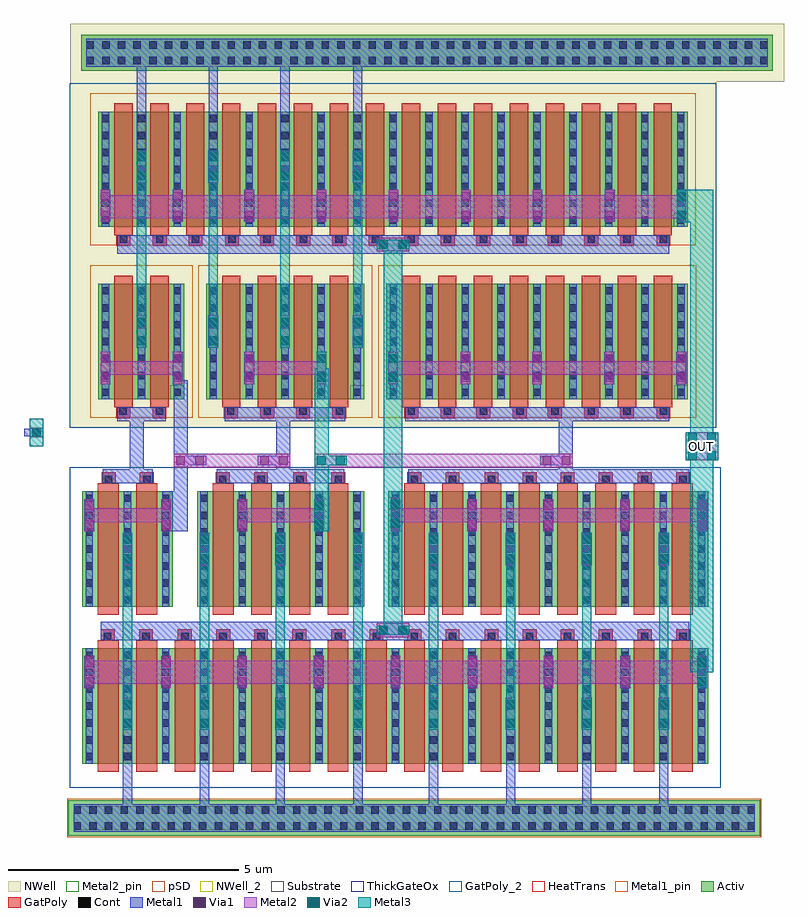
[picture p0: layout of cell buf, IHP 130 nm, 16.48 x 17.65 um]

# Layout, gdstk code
from math import pi, radians
import gdstk
lib = gdstk.Library(unit=1e-6, precision=1e-09)
def R(c, l, rs):  # rectangles x0, y0, x1, y1
    for r in rs: c.add(gdstk.rectangle(r[:2], r[2:], *l))
def A(c, l, x, y, w, h, nx, ny, dx, dy):  # array of equal rectangles
    R(c, l, [(x+i*dx, y+j*dy, x+i*dx+w, y+j*dy+h) for i in range(nx) for j in range(ny)])
Activ = (1, 0)
GatPoly = (5, 0)
GatPoly_2 = (5, 2)
Cont = (6, 0)
Metal1 = (8, 0)
Metal1_pin = (8, 2)
Metal2 = (10, 0)
Metal2_pin = (10, 2)
pSD = (14, 0)
Via1 = (19, 0)
Via2 = (29, 0)
Metal3 = (30, 0)
NWell = (31, 0)
NWell_2 = (31, 2)
Substrate = (40, 0)
ThickGateOx = (44, 0)
HeatTrans = (51, 0)

pmoshv_1 = lib.new_cell('pmosHV$1')
A(pmoshv_1, Activ, 0, 0, 0.3, 0.3, 9, 1, 0.78, 0)
R(pmoshv_1, Activ, [(0,0,6.54,2.5)])
A(pmoshv_1, GatPoly, 0.34, -0.18, 0.4, 2.86, 8, 1, 0.78, 0)
R(pmoshv_1, GatPoly_2, [(0.34,-0.18,0.74,2.68)])
A(pmoshv_1, Cont, 0.07, 0.07, 0.16, 0.16, 9, 3, 0.78, 0.365)
A(pmoshv_1, Cont, 0.07, 1.17, 0.16, 0.16, 9, 3, 0.78, 0.365)
A(pmoshv_1, Cont, 0.07, 2.27, 0.16, 0.16, 9, 1, 0.78, 0)
A(pmoshv_1, Metal1, 0.07, 0, 0.16, 2.5, 9, 1, 0.78, 0)
R(pmoshv_1, Metal1_pin, [(0.07,0,0.23,2.5), (0.85,0,1.01,2.5)])
R(pmoshv_1, pSD, [(-0.18,-0.4,6.72,2.9)])
R(pmoshv_1, NWell, [(-0.62,-0.62,7.16,3.12)])
R(pmoshv_1, Substrate, [(6.24,0,6.54,0.3)])
R(pmoshv_1, ThickGateOx, [(-0.62,-0.62,7.16,3.12)])
A(pmoshv_1, HeatTrans, 0.34, -0.18, 0.4, 2.86, 8, 1, 0.78, 0)
pmoshv_1.add(gdstk.Label('pmosHV', (0.54,1.25), layer=63, texttype=0))
pmoshv_1.add(gdstk.Label('pmos', (0.54,1.25), layer=51, texttype=0))
pmoshv_1.add(gdstk.Label('pmos', (1.32,1.25), layer=51, texttype=0))
pmoshv_1.add(gdstk.Label('pmos', (2.1,1.25), layer=51, texttype=0))
pmoshv_1.add(gdstk.Label('pmos', (2.88,1.25), layer=51, texttype=0))
pmoshv_1.add(gdstk.Label('pmos', (3.66,1.25), layer=51, texttype=0))
pmoshv_1.add(gdstk.Label('pmos', (4.44,1.25), layer=51, texttype=0))
pmoshv_1.add(gdstk.Label('pmos', (5.22,1.25), layer=51, texttype=0))
pmoshv_1.add(gdstk.Label('pmos', (6,1.25), layer=51, texttype=0))

nmoshv_1 = lib.new_cell('nmosHV$1')
A(nmoshv_1, Activ, 0, 0, 0.3, 0.3, 9, 1, 0.83, 0)
R(nmoshv_1, Activ, [(0,0,6.94,2.5)])
A(nmoshv_1, GatPoly, 0.34, -0.18, 0.45, 2.86, 8, 1, 0.83, 0)
R(nmoshv_1, GatPoly_2, [(0.34,-0.18,0.79,2.68)])
A(nmoshv_1, Cont, 0.07, 0.07, 0.16, 0.16, 9, 3, 0.83, 0.365)
A(nmoshv_1, Cont, 0.07, 1.17, 0.16, 0.16, 9, 3, 0.83, 0.365)
A(nmoshv_1, Cont, 0.07, 2.27, 0.16, 0.16, 9, 1, 0.83, 0)
A(nmoshv_1, Metal1, 0.07, 0, 0.16, 2.5, 9, 1, 0.83, 0)
R(nmoshv_1, Metal1_pin, [(0.07,0,0.23,2.5), (0.9,0,1.06,2.5)])
R(nmoshv_1, ThickGateOx, [(-0.27,-0.52,7.21,3.02)])
A(nmoshv_1, HeatTrans, 0.34, -0.18, 0.45, 2.86, 8, 1, 0.83, 0)
nmoshv_1.add(gdstk.Label('nmosHV', (0.565,1.25), layer=63, texttype=0))
nmoshv_1.add(gdstk.Label('nmosHV', (0.565,1.25), layer=51, texttype=0))
nmoshv_1.add(gdstk.Label('nmosHV', (1.395,1.25), layer=51, texttype=0))
nmoshv_1.add(gdstk.Label('nmosHV', (2.225,1.25), layer=51, texttype=0))
nmoshv_1.add(gdstk.Label('nmosHV', (3.055,1.25), layer=51, texttype=0))
nmoshv_1.add(gdstk.Label('nmosHV', (3.885,1.25), layer=51, texttype=0))
nmoshv_1.add(gdstk.Label('nmosHV', (4.715,1.25), layer=51, texttype=0))
nmoshv_1.add(gdstk.Label('nmosHV', (5.545,1.25), layer=51, texttype=0))
nmoshv_1.add(gdstk.Label('nmosHV', (6.375,1.25), layer=51, texttype=0))

pmoshv_2 = lib.new_cell('pmosHV$2')
A(pmoshv_2, Activ, 0, 0, 0.3, 0.3, 17, 1, 0.78, 0)
R(pmoshv_2, Activ, [(0,0,12.78,2.5)])
A(pmoshv_2, GatPoly, 0.34, -0.18, 0.4, 2.86, 16, 1, 0.78, 0)
R(pmoshv_2, GatPoly_2, [(0.34,-0.18,0.74,2.68)])
A(pmoshv_2, Cont, 0.07, 0.07, 0.16, 0.16, 17, 3, 0.78, 0.365)
A(pmoshv_2, Cont, 0.07, 1.17, 0.16, 0.16, 17, 3, 0.78, 0.365)
A(pmoshv_2, Cont, 0.07, 2.27, 0.16, 0.16, 17, 1, 0.78, 0)
A(pmoshv_2, Metal1, 0.07, 0, 0.16, 2.5, 17, 1, 0.78, 0)
R(pmoshv_2, Metal1_pin, [(0.07,0,0.23,2.5), (0.85,0,1.01,2.5)])
R(pmoshv_2, pSD, [(-0.18,-0.4,12.96,2.9)])
R(pmoshv_2, NWell, [(-0.62,-0.62,13.4,3.12)])
R(pmoshv_2, Substrate, [(12.48,0,12.78,0.3)])
R(pmoshv_2, ThickGateOx, [(-0.62,-0.62,13.4,3.12)])
A(pmoshv_2, HeatTrans, 0.34, -0.18, 0.4, 2.86, 16, 1, 0.78, 0)
pmoshv_2.add(gdstk.Label('pmosHV', (0.54,1.25), layer=63, texttype=0))
pmoshv_2.add(gdstk.Label('pmos', (0.54,1.25), layer=51, texttype=0))
pmoshv_2.add(gdstk.Label('pmos', (1.32,1.25), layer=51, texttype=0))
pmoshv_2.add(gdstk.Label('pmos', (2.1,1.25), layer=51, texttype=0))
pmoshv_2.add(gdstk.Label('pmos', (2.88,1.25), layer=51, texttype=0))
pmoshv_2.add(gdstk.Label('pmos', (3.66,1.25), layer=51, texttype=0))
pmoshv_2.add(gdstk.Label('pmos', (4.44,1.25), layer=51, texttype=0))
pmoshv_2.add(gdstk.Label('pmos', (5.22,1.25), layer=51, texttype=0))
pmoshv_2.add(gdstk.Label('pmos', (6,1.25), layer=51, texttype=0))
pmoshv_2.add(gdstk.Label('pmos', (6.78,1.25), layer=51, texttype=0))
pmoshv_2.add(gdstk.Label('pmos', (7.56,1.25), layer=51, texttype=0))
pmoshv_2.add(gdstk.Label('pmos', (8.34,1.25), layer=51, texttype=0))
pmoshv_2.add(gdstk.Label('pmos', (9.12,1.25), layer=51, texttype=0))
pmoshv_2.add(gdstk.Label('pmos', (9.9,1.25), layer=51, texttype=0))
pmoshv_2.add(gdstk.Label('pmos', (10.68,1.25), layer=51, texttype=0))
pmoshv_2.add(gdstk.Label('pmos', (11.46,1.25), layer=51, texttype=0))
pmoshv_2.add(gdstk.Label('pmos', (12.24,1.25), layer=51, texttype=0))

nmoshv_2 = lib.new_cell('nmosHV$2')
A(nmoshv_2, Activ, 0, 0, 0.3, 0.3, 17, 1, 0.83, 0)
R(nmoshv_2, Activ, [(0,0,13.58,2.5)])
A(nmoshv_2, GatPoly, 0.34, -0.18, 0.45, 2.86, 16, 1, 0.83, 0)
R(nmoshv_2, GatPoly_2, [(0.34,-0.18,0.79,2.68)])
A(nmoshv_2, Cont, 0.07, 0.07, 0.16, 0.16, 17, 3, 0.83, 0.365)
A(nmoshv_2, Cont, 0.07, 1.17, 0.16, 0.16, 17, 3, 0.83, 0.365)
A(nmoshv_2, Cont, 0.07, 2.27, 0.16, 0.16, 17, 1, 0.83, 0)
A(nmoshv_2, Metal1, 0.07, 0, 0.16, 2.5, 17, 1, 0.83, 0)
R(nmoshv_2, Metal1_pin, [(0.07,0,0.23,2.5), (0.9,0,1.06,2.5)])
R(nmoshv_2, ThickGateOx, [(-0.27,-0.52,13.85,3.02)])
A(nmoshv_2, HeatTrans, 0.34, -0.18, 0.45, 2.86, 16, 1, 0.83, 0)
nmoshv_2.add(gdstk.Label('nmosHV', (0.565,1.25), layer=63, texttype=0))
nmoshv_2.add(gdstk.Label('nmosHV', (0.565,1.25), layer=51, texttype=0))
nmoshv_2.add(gdstk.Label('nmosHV', (1.395,1.25), layer=51, texttype=0))
nmoshv_2.add(gdstk.Label('nmosHV', (2.225,1.25), layer=51, texttype=0))
nmoshv_2.add(gdstk.Label('nmosHV', (3.055,1.25), layer=51, texttype=0))
nmoshv_2.add(gdstk.Label('nmosHV', (3.885,1.25), layer=51, texttype=0))
nmoshv_2.add(gdstk.Label('nmosHV', (4.715,1.25), layer=51, texttype=0))
nmoshv_2.add(gdstk.Label('nmosHV', (5.545,1.25), layer=51, texttype=0))
nmoshv_2.add(gdstk.Label('nmosHV', (6.375,1.25), layer=51, texttype=0))
nmoshv_2.add(gdstk.Label('nmosHV', (7.205,1.25), layer=51, texttype=0))
nmoshv_2.add(gdstk.Label('nmosHV', (8.035,1.25), layer=51, texttype=0))
nmoshv_2.add(gdstk.Label('nmosHV', (8.865,1.25), layer=51, texttype=0))
nmoshv_2.add(gdstk.Label('nmosHV', (9.695,1.25), layer=51, texttype=0))
nmoshv_2.add(gdstk.Label('nmosHV', (10.525,1.25), layer=51, texttype=0))
nmoshv_2.add(gdstk.Label('nmosHV', (11.355,1.25), layer=51, texttype=0))
nmoshv_2.add(gdstk.Label('nmosHV', (12.185,1.25), layer=51, texttype=0))
nmoshv_2.add(gdstk.Label('nmosHV', (13.015,1.25), layer=51, texttype=0))

ptap1 = lib.new_cell('ptap1')
R(ptap1, Activ, [(0,0,15,0.78)])
A(ptap1, Cont, 0.11, 0.14, 0.16, 0.16, 44, 2, 0.34, 0.34)
R(ptap1, Metal1, [(0.11,0.09,14.89,0.69), (0.11,0.14,14.89,0.64)])
R(ptap1, Metal1_pin, [(0.11,0.14,14.89,0.64)])
R(ptap1, pSD, [(-0.03,-0.03,15.03,0.81)])
R(ptap1, Substrate, [(0,0,15,0.78)])
ptap1.add(gdstk.Label('sub!', (7.5,0.01), layer=63, texttype=0))
ptap1.add(gdstk.Label('sub!', (7.5,0.01), layer=40, texttype=0))

ntap1 = lib.new_cell('ntap1')
R(ntap1, Activ, [(0,0,15,0.78)])
A(ntap1, Cont, 0.11, 0.14, 0.16, 0.16, 44, 2, 0.34, 0.34)
R(ntap1, Metal1, [(0.11,0.09,14.89,0.69)])
R(ntap1, Metal1_pin, [(0.11,0.09,14.89,0.69), (0.11,0.14,14.89,0.64)])
R(ntap1, NWell, [(-0.24,-0.24,15.24,1.02), (0,0,15,0.78)])
R(ntap1, NWell_2, [(0,0,15,0.78)])
ntap1.add(gdstk.Label('well', (7.5,0.01), layer=63, texttype=0))
ntap1.add(gdstk.Label('well', (7.5,0.01), layer=31, texttype=0))

via = lib.new_cell('Via')
R(via, GatPoly, [(-0.15,-0.15,0.15,0.15)])
R(via, Cont, [(-0.08,-0.08,0.08,0.08)])
R(via, Metal1, [(-0.13,-0.08,0.13,0.08)])

via_2 = lib.new_cell('Via$2')
R(via_2, Metal2, [(-0.145,-0.1,0.145,0.1)])
R(via_2, Via2, [(-0.095,-0.095,0.095,0.095)])
R(via_2, Metal3, [(-0.145,-0.3,0.145,0.3)])

via_3 = lib.new_cell('Via$3')
R(via_3, Metal1, [(-0.145,-0.105,0.145,0.105)])
R(via_3, Metal2, [(-0.145,-0.1,0.145,0.1)])
R(via_3, Via1, [(-0.095,-0.095,0.095,0.095)])

via_12 = lib.new_cell('Via$12')
R(via_12, Metal2, [(-0.35,-0.1,0.35,0.1)])
R(via_12, Via2, [(-0.3,-0.095,-0.11,0.095), (0.11,-0.095,0.3,0.095)])
R(via_12, Metal3, [(-0.35,-0.1,0.35,0.1)])

via_5 = lib.new_cell('Via$5')
R(via_5, Metal1, [(-0.35,-0.105,0.35,0.105)])
R(via_5, Metal2, [(-0.35,-0.1,0.35,0.1)])
R(via_5, Via1, [(-0.3,-0.095,-0.11,0.095), (0.11,-0.095,0.3,0.095)])

via_7 = lib.new_cell('Via$7')
R(via_7, Metal2, [(-0.35,-0.1,0.35,0.1)])
R(via_7, Via2, [(-0.3,-0.095,-0.11,0.095), (0.11,-0.095,0.3,0.095)])
R(via_7, Metal3, [(-0.35,-0.1,0.35,0.1)])

pmoshv = lib.new_cell('pmosHV')
A(pmoshv, Activ, 0, 0, 0.3, 0.3, 3, 1, 0.78, 0)
R(pmoshv, Activ, [(0,0,1.86,2.5)])
R(pmoshv, GatPoly, [(0.34,-0.18,0.74,2.68), (1.12,-0.18,1.52,2.68)])
R(pmoshv, GatPoly_2, [(0.34,-0.18,0.74,2.68)])
A(pmoshv, Cont, 0.07, 0.07, 0.16, 0.16, 3, 3, 0.78, 0.365)
A(pmoshv, Cont, 0.07, 1.17, 0.16, 0.16, 3, 3, 0.78, 0.365)
A(pmoshv, Cont, 0.07, 2.27, 0.16, 0.16, 3, 1, 0.78, 0)
A(pmoshv, Metal1, 0.07, 0, 0.16, 2.5, 3, 1, 0.78, 0)
R(pmoshv, Metal1_pin, [(0.07,0,0.23,2.5), (0.85,0,1.01,2.5)])
R(pmoshv, pSD, [(-0.18,-0.4,2.04,2.9)])
R(pmoshv, NWell, [(-0.62,-0.62,2.48,3.12)])
R(pmoshv, Substrate, [(1.56,0,1.86,0.3)])
R(pmoshv, ThickGateOx, [(-0.62,-0.62,2.48,3.12)])
R(pmoshv, HeatTrans, [(0.34,-0.18,0.74,2.68), (1.12,-0.18,1.52,2.68)])
pmoshv.add(gdstk.Label('pmosHV', (0.54,1.25), layer=63, texttype=0))
pmoshv.add(gdstk.Label('pmos', (0.54,1.25), layer=51, texttype=0))
pmoshv.add(gdstk.Label('pmos', (1.32,1.25), layer=51, texttype=0))

pmoshv_3 = lib.new_cell('pmosHV$3')
A(pmoshv_3, Activ, 0, 0, 0.3, 0.3, 5, 1, 0.78, 0)
R(pmoshv_3, Activ, [(0,0,3.42,2.5)])
A(pmoshv_3, GatPoly, 0.34, -0.18, 0.4, 2.86, 4, 1, 0.78, 0)
R(pmoshv_3, GatPoly_2, [(0.34,-0.18,0.74,2.68)])
A(pmoshv_3, Cont, 0.07, 0.07, 0.16, 0.16, 5, 3, 0.78, 0.365)
A(pmoshv_3, Cont, 0.07, 1.17, 0.16, 0.16, 5, 3, 0.78, 0.365)
A(pmoshv_3, Cont, 0.07, 2.27, 0.16, 0.16, 5, 1, 0.78, 0)
A(pmoshv_3, Metal1, 0.07, 0, 0.16, 2.5, 5, 1, 0.78, 0)
R(pmoshv_3, Metal1_pin, [(0.07,0,0.23,2.5), (0.85,0,1.01,2.5)])
R(pmoshv_3, pSD, [(-0.18,-0.4,3.6,2.9)])
R(pmoshv_3, NWell, [(-0.62,-0.62,4.04,3.12)])
R(pmoshv_3, Substrate, [(3.12,0,3.42,0.3)])
R(pmoshv_3, ThickGateOx, [(-0.62,-0.62,4.04,3.12)])
A(pmoshv_3, HeatTrans, 0.34, -0.18, 0.4, 2.86, 4, 1, 0.78, 0)
pmoshv_3.add(gdstk.Label('pmosHV', (0.54,1.25), layer=63, texttype=0))
pmoshv_3.add(gdstk.Label('pmos', (0.54,1.25), layer=51, texttype=0))
pmoshv_3.add(gdstk.Label('pmos', (1.32,1.25), layer=51, texttype=0))
pmoshv_3.add(gdstk.Label('pmos', (2.1,1.25), layer=51, texttype=0))
pmoshv_3.add(gdstk.Label('pmos', (2.88,1.25), layer=51, texttype=0))

via_9 = lib.new_cell('Via$9')
R(via_9, Metal2, [(-0.35,-0.1,0.35,0.1)])
R(via_9, Via2, [(-0.3,-0.095,-0.11,0.095), (0.11,-0.095,0.3,0.095)])
R(via_9, Metal3, [(-0.35,-0.1,0.35,0.1)])

via_4 = lib.new_cell('Via$4')
R(via_4, Metal1, [(-0.35,-0.105,0.35,0.105)])
R(via_4, Metal2, [(-0.35,-0.15,0.35,0.15)])
R(via_4, Via1, [(-0.3,-0.095,-0.11,0.095), (0.11,-0.095,0.3,0.095)])

nmoshv = lib.new_cell('nmosHV')
A(nmoshv, Activ, 0, 0, 0.3, 0.3, 3, 1, 0.83, 0)
R(nmoshv, Activ, [(0,0,1.96,2.5)])
R(nmoshv, GatPoly, [(0.34,-0.18,0.79,2.68), (1.17,-0.18,1.62,2.68)])
R(nmoshv, GatPoly_2, [(0.34,-0.18,0.79,2.68)])
A(nmoshv, Cont, 0.07, 0.07, 0.16, 0.16, 3, 3, 0.83, 0.365)
A(nmoshv, Cont, 0.07, 1.17, 0.16, 0.16, 3, 3, 0.83, 0.365)
A(nmoshv, Cont, 0.07, 2.27, 0.16, 0.16, 3, 1, 0.83, 0)
A(nmoshv, Metal1, 0.07, 0, 0.16, 2.5, 3, 1, 0.83, 0)
R(nmoshv, Metal1_pin, [(0.07,0,0.23,2.5), (0.9,0,1.06,2.5)])
R(nmoshv, ThickGateOx, [(-0.27,-0.52,2.23,3.02)])
R(nmoshv, HeatTrans, [(0.34,-0.18,0.79,2.68), (1.17,-0.18,1.62,2.68)])
nmoshv.add(gdstk.Label('nmosHV', (0.565,1.25), layer=63, texttype=0))
nmoshv.add(gdstk.Label('nmosHV', (0.565,1.25), layer=51, texttype=0))
nmoshv.add(gdstk.Label('nmosHV', (1.395,1.25), layer=51, texttype=0))

nmoshv_3 = lib.new_cell('nmosHV$3')
A(nmoshv_3, Activ, 0, 0, 0.3, 0.3, 5, 1, 0.83, 0)
R(nmoshv_3, Activ, [(0,0,3.62,2.5)])
A(nmoshv_3, GatPoly, 0.34, -0.18, 0.45, 2.86, 4, 1, 0.83, 0)
R(nmoshv_3, GatPoly_2, [(0.34,-0.18,0.79,2.68)])
A(nmoshv_3, Cont, 0.07, 0.07, 0.16, 0.16, 5, 3, 0.83, 0.365)
A(nmoshv_3, Cont, 0.07, 1.17, 0.16, 0.16, 5, 3, 0.83, 0.365)
A(nmoshv_3, Cont, 0.07, 2.27, 0.16, 0.16, 5, 1, 0.83, 0)
A(nmoshv_3, Metal1, 0.07, 0, 0.16, 2.5, 5, 1, 0.83, 0)
R(nmoshv_3, Metal1_pin, [(0.07,0,0.23,2.5), (0.9,0,1.06,2.5)])
R(nmoshv_3, ThickGateOx, [(-0.27,-0.52,3.89,3.02)])
A(nmoshv_3, HeatTrans, 0.34, -0.18, 0.45, 2.86, 4, 1, 0.83, 0)
nmoshv_3.add(gdstk.Label('nmosHV', (0.565,1.25), layer=63, texttype=0))
nmoshv_3.add(gdstk.Label('nmosHV', (0.565,1.25), layer=51, texttype=0))
nmoshv_3.add(gdstk.Label('nmosHV', (1.395,1.25), layer=51, texttype=0))
nmoshv_3.add(gdstk.Label('nmosHV', (2.225,1.25), layer=51, texttype=0))
nmoshv_3.add(gdstk.Label('nmosHV', (3.055,1.25), layer=51, texttype=0))

via_8 = lib.new_cell('Via$8')
R(via_8, Metal1, [(-0.35,-0.105,0.35,0.105)])
R(via_8, Metal2, [(-0.35,-0.15,0.35,0.15)])
R(via_8, Via1, [(-0.3,-0.095,-0.11,0.095), (0.11,-0.095,0.3,0.095)])

via_13 = lib.new_cell('Via$13')
R(via_13, Metal2, [(-0.35,-0.305,0.35,0.305)])
R(via_13, Via2, [(-0.3,-0.3,-0.11,-0.11), (0.11,-0.3,0.3,-0.11), (-0.3,0.11,-0.11,0.3), (0.11,0.11,0.3,0.3)])
R(via_13, Metal3, [(-0.35,-0.305,0.35,0.305)])

buf = lib.new_cell('buf')
R(buf, Metal1, [(15.2,12.44,15.755,13.3)])
R(buf, Metal2_pin, [(26.805,14.175,27.005,14.375)])
R(buf, Metal3, [(26.365,19.14,27.16,19.845)])
R(buf, NWell, [(13.21,21.1,27.22,23.445)])
buf.add(gdstk.FlexPath([(12.205,14.575),(12.475,14.575)], 0.16, ends="flush", simple_path=True, layer=8, datatype=0))  # Metal1
buf.add(gdstk.FlexPath([(14.225,14.97),(15.275,14.97)], 0.3, ends="flush", simple_path=True, layer=8, datatype=0))  # Metal1
buf.add(gdstk.FlexPath([(13.91,13.63),(15,13.63)], 0.3, ends="flush", simple_path=True, layer=8, datatype=0))  # Metal1
buf.add(gdstk.FlexPath([(14.65,14.97),(14.65,13.63)], 0.3, ends="flush", simple_path=True, layer=8, datatype=0))  # Metal1
buf.add(gdstk.FlexPath([(16.385,13.63),(19.15,13.63)], 0.3, ends="flush", simple_path=True, layer=8, datatype=0))  # Metal1
buf.add(gdstk.FlexPath([(16.56,14.97),(19.175,14.97)], 0.3, ends="flush", simple_path=True, layer=8, datatype=0))  # Metal1
buf.add(gdstk.FlexPath([(17.825,14.97),(17.825,13.63)], 0.3, ends="flush", simple_path=True, layer=8, datatype=0))  # Metal1
buf.add(gdstk.FlexPath([(20.475,14.97),(26.205,14.97)], 0.3, ends="flush", simple_path=True, layer=8, datatype=0))  # Metal1
buf.add(gdstk.FlexPath([(20.54,13.63),(26.63,13.63)], 0.3, ends="flush", simple_path=True, layer=8, datatype=0))  # Metal1
buf.add(gdstk.FlexPath([(23.955,14.97),(23.955,13.64)], 0.3, ends="flush", simple_path=True, layer=8, datatype=0))  # Metal1
buf.add(gdstk.FlexPath([(15.54,15.975),(15.54,15.975)], 0.3, ends="flush", simple_path=True, layer=8, datatype=0))  # Metal1
buf.add(gdstk.FlexPath([(13.97,15.975),(13.97,15.975)], 0.3, ends="flush", simple_path=True, layer=8, datatype=0))  # Metal1
buf.add(gdstk.FlexPath([(15.605,15.715),(15.605,13.62)], 0.3, ends="flush", simple_path=True, layer=8, datatype=0))  # Metal1
buf.add(gdstk.FlexPath([(15.605,13.875),(15.605,12.44)], 0.3, ends="flush", simple_path=True, layer=8, datatype=0))  # Metal1
buf.add(gdstk.FlexPath([(15.605,13.97),(15.605,13.97)], 0.3, ends="flush", simple_path=True, layer=8, datatype=0))  # Metal1
buf.add(gdstk.FlexPath([(18.66,15.975),(18.66,15.975)], 0.3, ends="flush", simple_path=True, layer=8, datatype=0))  # Metal1
buf.add(gdstk.FlexPath([(17.09,15.975),(17.09,15.975)], 0.3, ends="flush", simple_path=True, layer=8, datatype=0))  # Metal1
buf.add(gdstk.FlexPath([(21.78,15.975),(21.78,15.975)], 0.3, ends="flush", simple_path=True, layer=8, datatype=0))  # Metal1
buf.add(gdstk.FlexPath([(20.21,15.975),(20.21,15.975)], 0.3, ends="flush", simple_path=True, layer=8, datatype=0))  # Metal1
buf.add(gdstk.FlexPath([(24.9,15.975),(24.9,15.975)], 0.3, ends="flush", simple_path=True, layer=8, datatype=0))  # Metal1
buf.add(gdstk.FlexPath([(23.33,15.975),(23.33,15.975)], 0.3, ends="flush", simple_path=True, layer=8, datatype=0))  # Metal1
buf.add(gdstk.FlexPath([(26.46,15.975),(26.46,15.975)], 0.3, ends="flush", simple_path=True, layer=8, datatype=0))  # Metal1
buf.add(gdstk.FlexPath([(13.87,10.275),(26.63,10.275)], 0.4, ends="flush", simple_path=True, layer=8, datatype=0))  # Metal1
buf.add(gdstk.FlexPath([(14.23,18.655),(26.205,18.655)], 0.4, ends="flush", simple_path=True, layer=8, datatype=0))  # Metal1
buf.add(gdstk.FlexPath([(15.54,19.495),(15.54,19.495)], 0.3, ends="flush", simple_path=True, layer=8, datatype=0))  # Metal1
buf.add(gdstk.FlexPath([(13.97,19.495),(13.97,19.495)], 0.3, ends="flush", simple_path=True, layer=8, datatype=0))  # Metal1
buf.add(gdstk.FlexPath([(18.66,19.495),(18.66,19.495)], 0.3, ends="flush", simple_path=True, layer=8, datatype=0))  # Metal1
buf.add(gdstk.FlexPath([(17.09,19.495),(17.09,19.495)], 0.3, ends="flush", simple_path=True, layer=8, datatype=0))  # Metal1
buf.add(gdstk.FlexPath([(21.79,19.495),(21.79,19.495)], 0.3, ends="flush", simple_path=True, layer=8, datatype=0))  # Metal1
buf.add(gdstk.FlexPath([(20.22,19.495),(20.22,19.495)], 0.3, ends="flush", simple_path=True, layer=8, datatype=0))  # Metal1
buf.add(gdstk.FlexPath([(24.91,19.495),(24.91,19.495)], 0.3, ends="flush", simple_path=True, layer=8, datatype=0))  # Metal1
buf.add(gdstk.FlexPath([(23.34,19.495),(23.34,19.495)], 0.3, ends="flush", simple_path=True, layer=8, datatype=0))  # Metal1
buf.add(gdstk.FlexPath([(26.465,19.495),(26.465,19.495)], 0.3, ends="flush", simple_path=True, layer=8, datatype=0))  # Metal1
buf.add(gdstk.FlexPath([(14.45,8.475),(14.45,6.21)], 0.2, ends="flush", simple_path=True, layer=8, datatype=0))  # Metal1
buf.add(gdstk.FlexPath([(16.12,8.475),(16.12,6.21)], 0.2, ends="flush", simple_path=True, layer=8, datatype=0))  # Metal1
buf.add(gdstk.FlexPath([(17.765,8.475),(17.765,6.21)], 0.2, ends="flush", simple_path=True, layer=8, datatype=0))  # Metal1
buf.add(gdstk.FlexPath([(19.45,8.475),(19.45,6.21)], 0.2, ends="flush", simple_path=True, layer=8, datatype=0))  # Metal1
buf.add(gdstk.FlexPath([(21.085,8.475),(21.085,6.21)], 0.2, ends="flush", simple_path=True, layer=8, datatype=0))  # Metal1
buf.add(gdstk.FlexPath([(22.76,8.475),(22.76,6.21)], 0.2, ends="flush", simple_path=True, layer=8, datatype=0))  # Metal1
buf.add(gdstk.FlexPath([(24.41,8.475),(24.41,6.21)], 0.2, ends="flush", simple_path=True, layer=8, datatype=0))  # Metal1
buf.add(gdstk.FlexPath([(26.08,8.475),(26.08,6.21)], 0.2, ends="flush", simple_path=True, layer=8, datatype=0))  # Metal1
buf.add(gdstk.FlexPath([(14.755,20.55),(14.755,22.645)], 0.2, ends="flush", simple_path=True, layer=8, datatype=0))  # Metal1
buf.add(gdstk.FlexPath([(16.31,20.55),(16.31,22.645)], 0.2, ends="flush", simple_path=True, layer=8, datatype=0))  # Metal1
buf.add(gdstk.FlexPath([(17.865,20.55),(17.865,22.645)], 0.2, ends="flush", simple_path=True, layer=8, datatype=0))  # Metal1
buf.add(gdstk.FlexPath([(19.445,20.55),(19.445,22.645)], 0.2, ends="flush", simple_path=True, layer=8, datatype=0))  # Metal1
buf.add(gdstk.FlexPath([(12.475,14.575),(12.475,14.575)], 0.2, ends="flush", simple_path=True, layer=10, datatype=0))  # Metal2
buf.add(gdstk.FlexPath([(13.97,15.975),(15.54,15.975)], 0.3, ends="flush", simple_path=True, layer=10, datatype=0))  # Metal2
buf.add(gdstk.FlexPath([(13.62,12.78),(15.28,12.78)], 0.3, ends="flush", simple_path=True, layer=10, datatype=0))  # Metal2
buf.add(gdstk.FlexPath([(15.455,13.97),(17.825,13.97)], 0.3, ends="flush", simple_path=True, layer=10, datatype=0))  # Metal2
buf.add(gdstk.FlexPath([(17.09,15.975),(18.66,15.975)], 0.3, ends="flush", simple_path=True, layer=10, datatype=0))  # Metal2
buf.add(gdstk.FlexPath([(16.94,12.78),(18.6,12.78)], 0.3, ends="flush", simple_path=True, layer=10, datatype=0))  # Metal2
buf.add(gdstk.FlexPath([(18.605,12.78),(18.605,12.78)], 0.3, ends="flush", simple_path=True, layer=10, datatype=0))  # Metal2
buf.add(gdstk.FlexPath([(18.66,15.975),(18.66,15.975)], 0.3, ends="flush", simple_path=True, layer=10, datatype=0))  # Metal2
buf.add(gdstk.FlexPath([(18.51,13.97),(23.955,13.97)], 0.3, ends="flush", simple_path=True, layer=10, datatype=0))  # Metal2
buf.add(gdstk.FlexPath([(20.26,12.78),(21.92,12.78)], 0.3, ends="flush", simple_path=True, layer=10, datatype=0))  # Metal2
buf.add(gdstk.FlexPath([(23.575,12.78),(25.235,12.78)], 0.3, ends="flush", simple_path=True, layer=10, datatype=0))  # Metal2
buf.add(gdstk.FlexPath([(21.465,12.78),(26.915,12.78)], 0.3, ends="flush", simple_path=True, layer=10, datatype=0))  # Metal2
buf.add(gdstk.FlexPath([(20.21,15.975),(21.78,15.975)], 0.3, ends="flush", simple_path=True, layer=10, datatype=0))  # Metal2
buf.add(gdstk.FlexPath([(23.33,15.975),(24.9,15.975)], 0.3, ends="flush", simple_path=True, layer=10, datatype=0))  # Metal2
buf.add(gdstk.FlexPath([(20.21,15.975),(26.455,15.975)], 0.3, ends="flush", simple_path=True, layer=10, datatype=0))  # Metal2
buf.add(gdstk.FlexPath([(20.21,15.975),(20.21,15.975)], 0.3, ends="flush", simple_path=True, layer=10, datatype=0))  # Metal2
buf.add(gdstk.FlexPath([(20.26,12.815),(20.26,12.815)], 0.3, ends="flush", simple_path=True, layer=10, datatype=0))  # Metal2
buf.add(gdstk.FlexPath([(20.21,18.655),(20.21,18.655)], 0.3, ends="flush", simple_path=True, layer=10, datatype=0))  # Metal2
buf.add(gdstk.FlexPath([(20.21,10.29),(20.21,10.29)], 0.3, ends="flush", simple_path=True, layer=10, datatype=0))  # Metal2
buf.add(gdstk.FlexPath([(19.86,10.29),(20.56,10.29)], 0.3, ends="flush", simple_path=True, layer=10, datatype=0))  # Metal2
buf.add(gdstk.FlexPath([(19.86,18.655),(20.56,18.655)], 0.3, ends="flush", simple_path=True, layer=10, datatype=0))  # Metal2
buf.add(gdstk.FlexPath([(13.62,9.375),(26.91,9.375)], 0.5, ends="flush", simple_path=True, layer=10, datatype=0))  # Metal2
buf.add(gdstk.FlexPath([(13.97,19.47),(26.45,19.47)], 0.5, ends="flush", simple_path=True, layer=10, datatype=0))  # Metal2
buf.add(gdstk.FlexPath([(26.91,9.38),(26.91,9.38)], 0.5, ends="flush", simple_path=True, layer=10, datatype=0))  # Metal2
buf.add(gdstk.FlexPath([(26.465,19.495),(26.465,19.495)], 0.5, ends="flush", simple_path=True, layer=10, datatype=0))  # Metal2
buf.add(gdstk.FlexPath([(18.66,15.975),(18.66,12.43)], 0.3, ends="flush", simple_path=True, layer=30, datatype=0))  # Metal3
buf.add(gdstk.FlexPath([(18.66,13.96),(18.66,13.96)], 0.3, ends="flush", simple_path=True, layer=30, datatype=0))  # Metal3
buf.add(gdstk.FlexPath([(20.21,15.975),(20.21,12.465)], 0.4, ends="flush", simple_path=True, layer=30, datatype=0))  # Metal3
buf.add(gdstk.FlexPath([(20.21,15.195),(20.21,18.655)], 0.4, ends="flush", simple_path=True, layer=30, datatype=0))  # Metal3
buf.add(gdstk.FlexPath([(20.21,13.41),(20.21,10.275)], 0.4, ends="flush", simple_path=True, layer=30, datatype=0))  # Metal3
buf.add(gdstk.FlexPath([(26.91,9.38),(26.91,19.845)], 0.5, ends="flush", simple_path=True, layer=30, datatype=0))  # Metal3
buf.add(gdstk.FlexPath([(26.91,14.275),(26.91,14.275)], 0.5, ends="flush", simple_path=True, layer=30, datatype=0))  # Metal3
buf.add(gdstk.FlexPath([(14.45,12.05),(14.45,8.435)], 0.2, ends="flush", simple_path=True, layer=30, datatype=0))  # Metal3
buf.add(gdstk.FlexPath([(16.12,12.05),(16.12,8.435)], 0.2, ends="flush", simple_path=True, layer=30, datatype=0))  # Metal3
buf.add(gdstk.FlexPath([(17.765,12.05),(17.765,8.435)], 0.2, ends="flush", simple_path=True, layer=30, datatype=0))  # Metal3
buf.add(gdstk.FlexPath([(19.45,12.05),(19.45,8.435)], 0.2, ends="flush", simple_path=True, layer=30, datatype=0))  # Metal3
buf.add(gdstk.FlexPath([(21.085,12.05),(21.085,8.435)], 0.2, ends="flush", simple_path=True, layer=30, datatype=0))  # Metal3
buf.add(gdstk.FlexPath([(22.76,12.05),(22.76,8.435)], 0.2, ends="flush", simple_path=True, layer=30, datatype=0))  # Metal3
buf.add(gdstk.FlexPath([(24.41,12.05),(24.41,8.435)], 0.2, ends="flush", simple_path=True, layer=30, datatype=0))  # Metal3
buf.add(gdstk.FlexPath([(26.08,12.05),(26.08,8.435)], 0.2, ends="flush", simple_path=True, layer=30, datatype=0))  # Metal3
buf.add(gdstk.FlexPath([(14.755,20.345),(14.755,16.73)], 0.2, ends="flush", simple_path=True, layer=30, datatype=0))  # Metal3
buf.add(gdstk.FlexPath([(16.31,20.345),(16.31,16.73)], 0.2, ends="flush", simple_path=True, layer=30, datatype=0))  # Metal3
buf.add(gdstk.FlexPath([(17.865,20.345),(17.865,16.73)], 0.2, ends="flush", simple_path=True, layer=30, datatype=0))  # Metal3
buf.add(gdstk.FlexPath([(19.445,20.345),(19.445,16.73)], 0.2, ends="flush", simple_path=True, layer=30, datatype=0))  # Metal3
buf.add(gdstk.Reference(pmoshv_1, (20.065,15.3)))
buf.add(gdstk.Reference(nmoshv_1, (20.11,10.8)))
buf.add(gdstk.Reference(pmoshv_2, (13.82,19.035)))
buf.add(gdstk.Reference(nmoshv_2, (13.47,7.395)))
buf.add(gdstk.Reference(ptap1, (13.17,5.825)))
buf.add(gdstk.Reference(ntap1, (13.45,22.425)))
buf.add(gdstk.Reference(via, (20.605,15.04)))
buf.add(gdstk.Reference(via, (20.605,18.775)))
buf.add(gdstk.Reference(via_2, (12.475,14.575)))
buf.add(gdstk.Reference(via_3, (12.475,14.575)))
buf.add(gdstk.Reference(via_12, (20.21,18.655)))
buf.add(gdstk.Reference(via_5, (20.21,18.655)))
buf.add(gdstk.Reference(via_12, (20.21,10.29)))
buf.add(gdstk.Reference(via_5, (20.21,10.29)))
buf.add(gdstk.Reference(via, (21.395,15.04)))
buf.add(gdstk.Reference(via, (21.395,18.775)))
buf.add(gdstk.Reference(via, (22.17,18.775)))
buf.add(gdstk.Reference(via, (22.96,18.775)))
buf.add(gdstk.Reference(via, (23.72,18.775)))
buf.add(gdstk.Reference(via, (24.51,18.775)))
buf.add(gdstk.Reference(via, (25.285,18.775)))
buf.add(gdstk.Reference(via, (26.075,18.775)))
buf.add(gdstk.Reference(via, (22.17,15.04)))
buf.add(gdstk.Reference(via, (22.96,15.04)))
buf.add(gdstk.Reference(via_5, (21.78,15.975), rotation=3*pi/2))
buf.add(gdstk.Reference(via_5, (24.9,15.975), rotation=3*pi/2))
buf.add(gdstk.Reference(via_5, (23.33,15.975), rotation=3*pi/2))
buf.add(gdstk.Reference(via_5, (26.46,15.975), rotation=3*pi/2))
buf.add(gdstk.Reference(via, (23.72,15.04)))
buf.add(gdstk.Reference(via, (24.51,15.04)))
buf.add(gdstk.Reference(via, (25.285,15.04)))
buf.add(gdstk.Reference(via, (26.075,15.04)))
buf.add(gdstk.Reference(via_5, (21.79,19.495), rotation=3*pi/2))
buf.add(gdstk.Reference(via_5, (24.91,19.495), rotation=3*pi/2))
buf.add(gdstk.Reference(via_5, (23.34,19.495), rotation=3*pi/2))
buf.add(gdstk.Reference(via_5, (26.465,19.495), rotation=3*pi/2))
buf.add(gdstk.Reference(via_7, (26.465,19.495), rotation=3*pi/2))
buf.add(gdstk.Reference(via, (19.83,18.775)))
buf.add(gdstk.Reference(pmoshv, (13.82,15.3)))
buf.add(gdstk.Reference(pmoshv_3, (16.16,15.3)))
buf.add(gdstk.Reference(via_5, (15.54,15.975), rotation=3*pi/2))
buf.add(gdstk.Reference(via_5, (13.97,15.975), rotation=3*pi/2))
buf.add(gdstk.Reference(via_5, (18.66,15.975), rotation=3*pi/2))
buf.add(gdstk.Reference(via_5, (17.09,15.975), rotation=3*pi/2))
buf.add(gdstk.Reference(via_7, (18.66,15.975), rotation=3*pi/2))
buf.add(gdstk.Reference(via, (14.355,15.04)))
buf.add(gdstk.Reference(via_5, (20.21,15.975), rotation=3*pi/2))
buf.add(gdstk.Reference(via, (15.145,15.04)))
buf.add(gdstk.Reference(via, (16.69,15.04)))
buf.add(gdstk.Reference(via, (17.48,15.04)))
buf.add(gdstk.Reference(via_9, (20.21,15.975), rotation=3*pi/2))
buf.add(gdstk.Reference(via, (18.255,15.04)))
buf.add(gdstk.Reference(via, (19.045,15.04)))
buf.add(gdstk.Reference(via, (14.36,18.775)))
buf.add(gdstk.Reference(via, (15.15,18.775)))
buf.add(gdstk.Reference(via_5, (15.54,19.495), rotation=3*pi/2))
buf.add(gdstk.Reference(via_5, (13.97,19.495), rotation=3*pi/2))
buf.add(gdstk.Reference(via_5, (18.66,19.495), rotation=3*pi/2))
buf.add(gdstk.Reference(via_5, (17.09,19.495), rotation=3*pi/2))
buf.add(gdstk.Reference(via, (15.925,18.775)))
buf.add(gdstk.Reference(via_5, (20.22,19.495), rotation=3*pi/2))
buf.add(gdstk.Reference(via, (16.715,18.775)))
buf.add(gdstk.Reference(via, (17.475,18.775)))
buf.add(gdstk.Reference(via, (18.265,18.775)))
buf.add(gdstk.Reference(via, (19.04,18.775)))
buf.add(gdstk.Reference(via_5, (14.755,20.345), rotation=3*pi/2))
buf.add(gdstk.Reference(via_7, (14.755,20.345), rotation=3*pi/2))
buf.add(gdstk.Reference(via_5, (14.755,16.77), rotation=3*pi/2))
buf.add(gdstk.Reference(via_7, (14.755,16.77), rotation=3*pi/2))
buf.add(gdstk.Reference(via_5, (16.31,20.345), rotation=3*pi/2))
buf.add(gdstk.Reference(via_7, (16.31,20.345), rotation=3*pi/2))
buf.add(gdstk.Reference(via_5, (16.31,16.77), rotation=3*pi/2))
buf.add(gdstk.Reference(via_7, (16.31,16.77), rotation=3*pi/2))
buf.add(gdstk.Reference(via_5, (17.865,20.345), rotation=3*pi/2))
buf.add(gdstk.Reference(via_7, (17.865,20.345), rotation=3*pi/2))
buf.add(gdstk.Reference(via_5, (17.865,16.77), rotation=3*pi/2))
buf.add(gdstk.Reference(via_7, (17.865,16.77), rotation=3*pi/2))
buf.add(gdstk.Reference(via_7, (19.445,16.77), rotation=3*pi/2))
buf.add(gdstk.Reference(via_5, (19.445,16.77), rotation=3*pi/2))
buf.add(gdstk.Reference(via_7, (19.445,20.345), rotation=3*pi/2))
buf.add(gdstk.Reference(via_5, (19.445,20.345), rotation=3*pi/2))
buf.add(gdstk.Reference(via_5, (13.62,9.38), rotation=3*pi/2))
buf.add(gdstk.Reference(via_5, (15.285,9.38), rotation=3*pi/2))
buf.add(gdstk.Reference(via_5, (16.935,9.38), rotation=3*pi/2))
buf.add(gdstk.Reference(via_5, (18.6,9.38), rotation=3*pi/2))
buf.add(gdstk.Reference(via_5, (20.265,9.38), rotation=3*pi/2))
buf.add(gdstk.Reference(via, (18.175,10.155)))
buf.add(gdstk.Reference(via, (19.02,10.155)))
buf.add(gdstk.Reference(via, (19.85,10.155)))
buf.add(gdstk.Reference(via_5, (13.62,12.78), rotation=3*pi/2))
buf.add(gdstk.Reference(via_5, (15.285,12.78), rotation=3*pi/2))
buf.add(gdstk.Reference(via_5, (15.805,13.97)))
buf.add(gdstk.Reference(via_4, (17.625,13.97)))
buf.add(gdstk.Reference(via, (14.04,13.56)))
buf.add(gdstk.Reference(via, (14.87,13.56)))
buf.add(gdstk.Reference(via_5, (16.94,12.78), rotation=3*pi/2))
buf.add(gdstk.Reference(via_5, (14.45,12.05), rotation=3*pi/2))
buf.add(gdstk.Reference(via_7, (14.45,12.05), rotation=3*pi/2))
buf.add(gdstk.Reference(via_5, (14.45,8.475), rotation=3*pi/2))
buf.add(gdstk.Reference(via_7, (14.45,8.475), rotation=3*pi/2))
buf.add(gdstk.Reference(via_5, (16.12,12.05), rotation=3*pi/2))
buf.add(gdstk.Reference(via_7, (16.12,12.05), rotation=3*pi/2))
buf.add(gdstk.Reference(via_5, (16.12,8.475), rotation=3*pi/2))
buf.add(gdstk.Reference(via_7, (16.12,8.475), rotation=3*pi/2))
buf.add(gdstk.Reference(via_5, (17.765,12.05), rotation=3*pi/2))
buf.add(gdstk.Reference(via_7, (17.765,12.05), rotation=3*pi/2))
buf.add(gdstk.Reference(via_5, (17.765,8.475), rotation=3*pi/2))
buf.add(gdstk.Reference(via_7, (17.765,8.475), rotation=3*pi/2))
buf.add(gdstk.Reference(via_5, (19.45,12.05), rotation=3*pi/2))
buf.add(gdstk.Reference(via_7, (19.45,12.05), rotation=3*pi/2))
buf.add(gdstk.Reference(via_5, (19.45,8.475), rotation=3*pi/2))
buf.add(gdstk.Reference(via_7, (19.45,8.475), rotation=3*pi/2))
buf.add(gdstk.Reference(via_5, (18.605,12.78), rotation=3*pi/2))
buf.add(gdstk.Reference(via_7, (18.605,12.78), rotation=3*pi/2))
buf.add(gdstk.Reference(nmoshv, (13.47,10.8)))
buf.add(gdstk.Reference(via_7, (18.86,13.97)))
buf.add(gdstk.Reference(via_5, (20.26,12.78), rotation=3*pi/2))
buf.add(gdstk.Reference(nmoshv_3, (15.96,10.8)))
buf.add(gdstk.Reference(via, (16.515,13.56)))
buf.add(gdstk.Reference(via, (17.345,13.56)))
buf.add(gdstk.Reference(via, (18.19,13.56)))
buf.add(gdstk.Reference(via, (19.02,13.56)))
buf.add(gdstk.Reference(via, (14.02,10.155)))
buf.add(gdstk.Reference(via_7, (20.26,12.815), rotation=3*pi/2))
buf.add(gdstk.Reference(via, (14.85,10.155)))
buf.add(gdstk.Reference(via, (15.695,10.155)))
buf.add(gdstk.Reference(via, (16.525,10.155)))
buf.add(gdstk.Reference(via, (17.345,10.155)))
buf.add(gdstk.Reference(via, (25.67,10.155)))
buf.add(gdstk.Reference(via, (26.5,10.155)))
buf.add(gdstk.Reference(via, (20.67,13.56)))
buf.add(gdstk.Reference(via, (21.5,13.56)))
buf.add(gdstk.Reference(via, (22.345,13.56)))
buf.add(gdstk.Reference(via_8, (23.755,13.97)))
buf.add(gdstk.Reference(via_5, (21.93,9.38), rotation=3*pi/2))
buf.add(gdstk.Reference(via_5, (23.58,9.38), rotation=3*pi/2))
buf.add(gdstk.Reference(via_5, (25.245,9.38), rotation=3*pi/2))
buf.add(gdstk.Reference(via_5, (26.91,9.38), rotation=3*pi/2))
buf.add(gdstk.Reference(via, (23.175,13.56)))
buf.add(gdstk.Reference(via_5, (21.085,12.05), rotation=3*pi/2))
buf.add(gdstk.Reference(via_7, (21.085,12.05), rotation=3*pi/2))
buf.add(gdstk.Reference(via_5, (21.085,8.475), rotation=3*pi/2))
buf.add(gdstk.Reference(via_7, (21.085,8.475), rotation=3*pi/2))
buf.add(gdstk.Reference(via_5, (22.76,12.05), rotation=3*pi/2))
buf.add(gdstk.Reference(via_7, (22.76,12.05), rotation=3*pi/2))
buf.add(gdstk.Reference(via_5, (22.76,8.475), rotation=3*pi/2))
buf.add(gdstk.Reference(via_7, (22.76,8.475), rotation=3*pi/2))
buf.add(gdstk.Reference(via_5, (24.41,12.05), rotation=3*pi/2))
buf.add(gdstk.Reference(via_7, (24.41,12.05), rotation=3*pi/2))
buf.add(gdstk.Reference(via_5, (24.41,8.475), rotation=3*pi/2))
buf.add(gdstk.Reference(via_7, (24.41,8.475), rotation=3*pi/2))
buf.add(gdstk.Reference(via_5, (26.08,12.05), rotation=3*pi/2))
buf.add(gdstk.Reference(via_7, (26.08,12.05), rotation=3*pi/2))
buf.add(gdstk.Reference(via_5, (26.08,8.475), rotation=3*pi/2))
buf.add(gdstk.Reference(via_7, (26.08,8.475), rotation=3*pi/2))
buf.add(gdstk.Reference(via_5, (21.925,12.78), rotation=3*pi/2))
buf.add(gdstk.Reference(via_5, (23.575,12.78), rotation=3*pi/2))
buf.add(gdstk.Reference(via_5, (25.24,12.78), rotation=3*pi/2))
buf.add(gdstk.Reference(via_5, (26.915,12.78), rotation=3*pi/2))
buf.add(gdstk.Reference(via, (23.995,13.56)))
buf.add(gdstk.Reference(via, (24.825,13.56)))
buf.add(gdstk.Reference(via, (25.67,13.56)))
buf.add(gdstk.Reference(via, (26.5,13.56)))
buf.add(gdstk.Reference(via_7, (26.91,9.38), rotation=3*pi/2))
buf.add(gdstk.Reference(via, (20.67,10.155)))
buf.add(gdstk.Reference(via_13, (26.91,14.275)))
buf.add(gdstk.Reference(via, (21.5,10.155)))
buf.add(gdstk.Reference(via, (22.345,10.155)))
buf.add(gdstk.Reference(via, (23.175,10.155)))
buf.add(gdstk.Reference(via, (23.995,10.155)))
buf.add(gdstk.Reference(via, (24.825,10.155)))
buf.add(gdstk.Label('OUT', (26.905,14.275), layer=10, texttype=25))

lib.write_gds('buf.gds')
